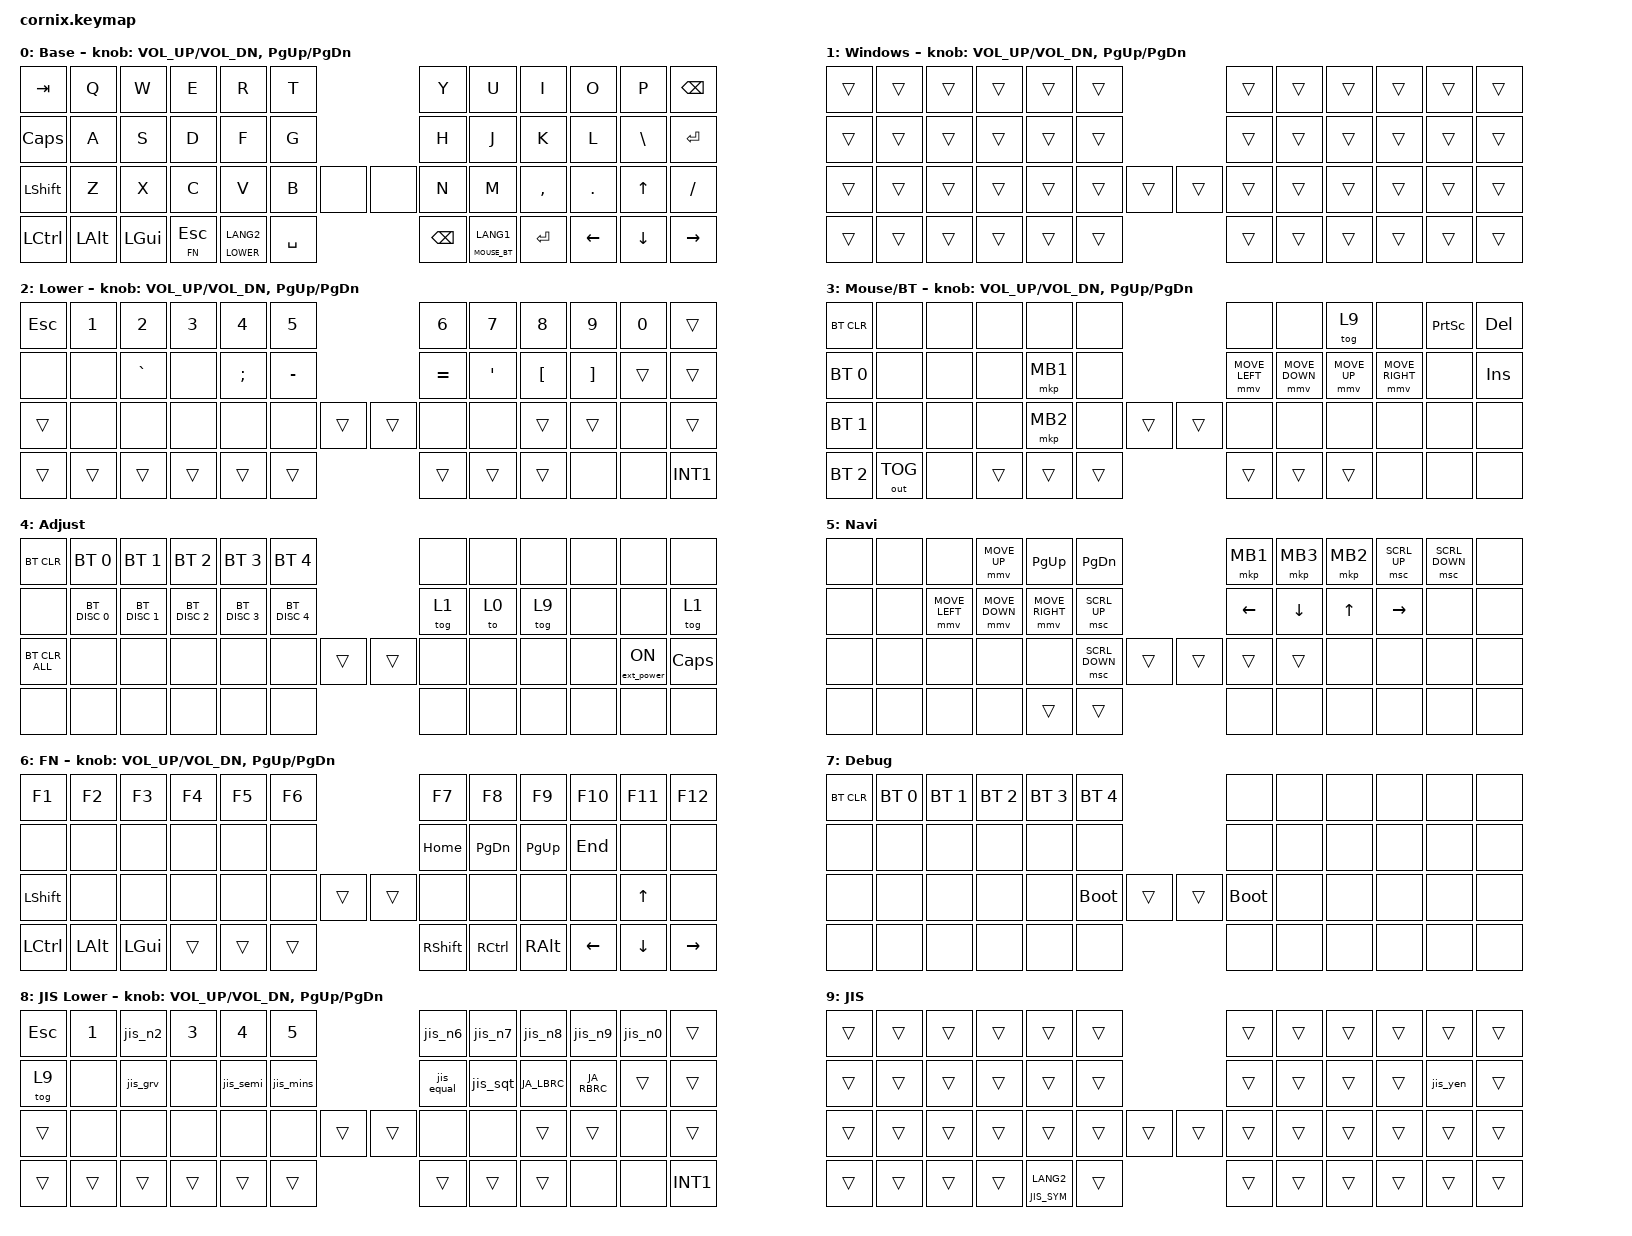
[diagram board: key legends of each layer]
/*
 * Copyright (c) 2020 The ZMK Contributors
 *
 * SPDX-License-Identifier: MIT
 */

#include "zmk-helpers/helper.h"
#include "includes/cornix54.h"
#include "includes/jis_keys.h"
#include <behaviors.dtsi>
#include <dt-bindings/zmk/bt.h>
#include <dt-bindings/zmk/ext_power.h>
#include <dt-bindings/zmk/keys.h>
#include <dt-bindings/zmk/outputs.h>
#include <dt-bindings/zmk/pointing.h>

#define TAPPING_TERM 250
#define QUICK_TAP    200

#define BASE     0
#define WIN      1
#define LOWER    2
#define MOUSE_BT 3
#define ADJUST   4
#define NAVI     5
#define FN       6
#define DEBUG    7
#define JIS_SYM  8
#define JIS_MODE 9

#define ZMK_POINTING_DEFAULT_SCRL_VAL 15

/ {
    behaviors {
        lt: layer_tap {
            compatible = "zmk,behavior-hold-tap";
            #binding-cells = <2>;
            bindings = <&mo>, <&kp>;
            flavor = "hold-preferred";
            tapping-term-ms = <TAPPING_TERM>;
            quick-tap-ms = <QUICK_TAP>;
        };

        // ── JISモード用 mod-morph ──────────────────────────────────────────────
        // ZMKはUS HIDコードを送るが、OSがJIS配列設定のためズレが生じる。
        // 各 mod-morph は「US記号」をJIS OSで正しく出力するためのコードに変換する。
        // 例: Shift+2(US @)→ mod-morphがJA_AT(LBKT)を送る → JIS OSが@と解釈する

        // 数字行: Shift+数字でUS/JIS間でズレる6キー
        jis_n2: jis_n2 {
            compatible = "zmk,behavior-mod-morph";
            #binding-cells = <0>;
            bindings = <&kp N2>, <&kp JA_AT>;    // 2 / @(=LBKT)
            mods = <(MOD_LSFT|MOD_RSFT)>;
        };
        jis_n6: jis_n6 {
            compatible = "zmk,behavior-mod-morph";
            #binding-cells = <0>;
            bindings = <&kp N6>, <&kp JA_CIRC>;  // 6 / ^(=EQUAL)
            mods = <(MOD_LSFT|MOD_RSFT)>;
        };
        jis_n7: jis_n7 {
            compatible = "zmk,behavior-mod-morph";
            #binding-cells = <0>;
            bindings = <&kp N7>, <&kp JA_AMPR>;  // 7 / &(=LS(N6))
            mods = <(MOD_LSFT|MOD_RSFT)>;
        };
        jis_n8: jis_n8 {
            compatible = "zmk,behavior-mod-morph";
            #binding-cells = <0>;
            bindings = <&kp N8>, <&kp JA_ASTR>;  // 8 / *(=LS(SQT))
            mods = <(MOD_LSFT|MOD_RSFT)>;
        };
        jis_n9: jis_n9 {
            compatible = "zmk,behavior-mod-morph";
            #binding-cells = <0>;
            bindings = <&kp N9>, <&kp JA_LPRN>;  // 9 / ((=LS(N8))
            mods = <(MOD_LSFT|MOD_RSFT)>;
        };
        jis_n0: jis_n0 {
            compatible = "zmk,behavior-mod-morph";
            #binding-cells = <0>;
            bindings = <&kp N0>, <&kp JA_RPRN>;  // 0 / )(=LS(N9))
            mods = <(MOD_LSFT|MOD_RSFT)>;
        };

        // 記号行: 単体キーもShiftバリアントもJIS変換が必要なキー
        // GRAVE: US` → JA_GRV(LS(LBKT)), US~ → JA_TILD(LS(EQUAL))
        jis_grv: jis_grv {
            compatible = "zmk,behavior-mod-morph";
            #binding-cells = <0>;
            bindings = <&kp JA_GRV>, <&kp JA_TILD>;
            mods = <(MOD_LSFT|MOD_RSFT)>;
        };
        // SEMI: US; はそのまま, US: → JA_COLN(SQT)
        jis_semi: jis_semi {
            compatible = "zmk,behavior-mod-morph";
            #binding-cells = <0>;
            bindings = <&kp SEMI>, <&kp JA_COLN>;
            mods = <(MOD_LSFT|MOD_RSFT)>;
        };
        // MINUS: US- はそのまま, US_ → JA_UNDS(LS(INT1))
        jis_mins: jis_mins {
            compatible = "zmk,behavior-mod-morph";
            #binding-cells = <0>;
            bindings = <&kp MINUS>, <&kp JA_UNDS>;
            mods = <(MOD_LSFT|MOD_RSFT)>;
        };
        // EQUAL: US= → JA_EQL(LS(MINUS)), US+ → JA_PLUS(LS(SEMI))
        jis_equal: jis_equal {
            compatible = "zmk,behavior-mod-morph";
            #binding-cells = <0>;
            bindings = <&kp JA_EQL>, <&kp JA_PLUS>;
            mods = <(MOD_LSFT|MOD_RSFT)>;
        };
        // SQT: US' → JA_QUOT(LS(N7)), US" → JA_DQT(LS(N2))
        jis_sqt: jis_sqt {
            compatible = "zmk,behavior-mod-morph";
            #binding-cells = <0>;
            bindings = <&kp JA_QUOT>, <&kp JA_DQT>;
            mods = <(MOD_LSFT|MOD_RSFT)>;
        };
        // LBKT/RBKT はmod-morph不要: JA_LBRC(RBKT)にShiftを加えると
        // 自動的にLS(RBKT)=JA_LCBR({)になり、JA_RBRC(BSLH)→LS(BSLH)=JA_RCBR(})も同様

        // Base層のBSLH(US\|): JIS OSでBSLH=]、LS(BSLH)=} になるためJIS変換が必要
        // US\→JA_YEN(INT3=¥), US|→JA_PIPE(LS(INT3)=|)
        jis_yen: jis_yen {
            compatible = "zmk,behavior-mod-morph";
            #binding-cells = <0>;
            bindings = <&kp JA_YEN>, <&kp JA_PIPE>;
            mods = <(MOD_LSFT|MOD_RSFT)>;
        };
    };

    conditional_layers {
        compatible = "zmk,conditional-layers";

        // LOWER + MOUSE_BT → ADJUST
        adjust_layer {
            if-layers = <MOUSE_BT LOWER>;
            then-layer = <ADJUST>;
        };

    };

    combos {
        compatible = "zmk,combos";

        // LH2 + LH1 同時押しで JIS モード on/off（同一ハーフ = cross-half 遅延なし）
        jis_toggle {
            bindings = <&tog JIS_MODE>;
            key-positions = <LH2 LH1>;
            timeout-ms = <50>;
        };

        cb_esc {
            bindings = <&kp ESC>;
            key-positions = <2 4>;
            layers = <BASE WIN>;
        };

        cb_tab {
            bindings = <&kp TAB>;
            key-positions = <14 16>;
            layers = <BASE WIN>;
        };

        cb_enter {
            bindings = <&kp RET>;
            key-positions = <19 21>;
            layers = <BASE WIN>;
        };
    };

    keymap {
        compatible = "zmk,keymap";

        // ── Layer 0: Base ──────────────────────────────────────────────────────
        // QMK Cornix v1.12 Layer 0 をベースに再現。
        // サムキー: lt FN(ESC) / lt LOWER(英数) / SPC | BSPC / lt MOUSE_BT(かな) / ENT
        // 右パームキー: ← ↓ →
        default_layer {
            display-name = "Base";
            bindings = <
&kp TAB    &kp Q     &kp W     &kp E              &kp R               &kp T                       &kp Y     &kp U                &kp I      &kp O     &kp P      &kp BSPC
&kp CAPS   &kp A     &kp S     &kp D              &kp F               &kp G                       &kp H     &kp J                &kp K      &kp L     &kp BSLH   &kp ENTER
&kp LSHFT  &kp Z     &kp X     &kp C              &kp V               &kp B        &none  &none  &kp N     &kp M                &kp COMMA  &kp DOT   &kp UP     &kp SLASH
&kp LCTRL  &kp LALT  &kp LGUI  &lt FN ESCAPE      &lt LOWER LANG2     &kp SPACE               &kp BSPC  &lt MOUSE_BT LANG1    &kp ENTER  &kp LEFT  &kp DOWN   &kp RIGHT
            >;
            sensor-bindings = <&inc_dec_kp C_VOL_UP C_VOL_DN &inc_dec_kp PG_UP PG_DN>;
        };

        // ── Layer 1: Windows ─────────────────────────────────────────────────
        // 将来の Windows 向けキーリマップ用。現在は全透過。
        win_layer {
            display-name = "Windows";
            bindings = <
&trans  &trans  &trans  &trans  &trans  &trans                  &trans  &trans  &trans  &trans  &trans  &trans
&trans  &trans  &trans  &trans  &trans  &trans                  &trans  &trans  &trans  &trans  &trans  &trans
&trans  &trans  &trans  &trans  &trans  &trans  &trans  &trans  &trans  &trans  &trans  &trans  &trans  &trans
&trans  &trans  &trans  &trans  &trans  &trans                  &trans  &trans  &trans  &trans  &trans  &trans
            >;
            sensor-bindings = <&inc_dec_kp C_VOL_UP C_VOL_DN &inc_dec_kp PG_UP PG_DN>;
        };

        // ── Layer 2: Lower ────────────────────────────────────────────────────
        // QMK Layer 1 を再現。数字 + JIS 記号。
        // 右中段の = ' [ ] は JIS モード時に ^ : @ [ になる。
        // 右パーム RP2: INT1 (JIS RO キー = \ / _)
        lower_layer {
            display-name = "Lower";
            bindings = <
&kp ESC  &kp N1  &kp N2     &kp N3  &kp N4    &kp N5                      &kp N6     &kp N7   &kp N8    &kp N9    &kp N0   &trans
&none    &none   &kp GRAVE  &none   &kp SEMI  &kp MINUS                   &kp EQUAL  &kp SQT  &kp LBKT  &kp RBKT  &trans   &trans
&trans   &none   &none      &none   &none     &none       &trans  &trans  &none      &none    &trans    &trans    &none    &trans
&trans   &trans  &trans     &trans  &trans    &trans                       &trans     &trans   &trans    &none     &none    &kp INT1
            >;
            sensor-bindings = <&inc_dec_kp C_VOL_UP C_VOL_DN &inc_dec_kp PG_UP PG_DN>;
        };

        // ── Layer 3: Mouse / BT ───────────────────────────────────────────────
        // QMK Layer 2 を再現。Bluetooth 操作 + マウス移動。
        // 左列: BT_CLR / BT0 / BT1 / BT2, SwitchOut
        // 右中段: HJKL 位置にマウス移動 (← ↓ ↑ →)
        // 右上 I 位置: &tog JIS_MODE (RH1 長押し + I で JIS on/off)
        mouse_bt_layer {
            display-name = "Mouse/BT";
            bindings = <
&bt BT_CLR    &none  &none  &none      &none      &none                       &none           &none           &tog 9         &none            &kp PSCRN  &kp DEL
&bt BT_SEL 0  &none  &none  &none      &mkp MB1   &none                       &mmv MOVE_LEFT  &mmv MOVE_DOWN  &mmv MOVE_UP   &mmv MOVE_RIGHT  &none      &kp INS
&bt BT_SEL 1  &none  &none  &none      &mkp MB2   &none       &trans  &trans  &none           &none           &none          &none            &none      &none
&bt BT_SEL 2  &out OUT_TOG  &none  &trans  &trans  &trans                     &trans          &trans          &trans         &none            &none      &none
            >;
            sensor-bindings = <&inc_dec_kp C_VOL_UP C_VOL_DN &inc_dec_kp PG_UP PG_DN>;
        };

        // ── Layer 4: Adjust (conditional: LOWER + MOUSE_BT) ──────────────────
        adjust_layer {
            display-name = "Adjust";
            bindings = <
&bt BT_CLR      &bt BT_SEL 0   &bt BT_SEL 1   &bt BT_SEL 2   &bt BT_SEL 3   &bt BT_SEL 4                   &none   &none  &none   &none  &none             &none
&none           &bt BT_DISC 0  &bt BT_DISC 1  &bt BT_DISC 2  &bt BT_DISC 3  &bt BT_DISC 4                  &tog 1  &to 0  &tog 9  &none  &none             &tog 1
&bt BT_CLR_ALL  &none          &none          &none          &none          &none          &trans  &trans   &none   &none  &none   &none  &ext_power EP_ON  &kp CAPS
&none           &none          &none          &none          &none          &none                            &none   &none  &none   &none  &none             &none
            >;
        };

        // ── Layer 5: Navi ─────────────────────────────────────────────────────
        // マウス移動 + スクロール + カーソル。BASE からは直接アクセスしない。
        navi_layer {
            display-name = "Navi";
            bindings = <
&none  &none  &none           &mmv MOVE_UP    &kp PAGE_UP      &kp PAGE_DOWN                   &mkp MB1  &mkp MB3  &mkp MB2  &msc SCRL_UP  &msc SCRL_DOWN  &none
&none  &none  &mmv MOVE_LEFT  &mmv MOVE_DOWN  &mmv MOVE_RIGHT  &msc SCRL_UP                    &kp LEFT  &kp DOWN  &kp UP    &kp RIGHT     &none           &none
&none  &none  &none           &none           &none            &msc SCRL_DOWN  &trans  &trans  &trans    &trans    &none     &none         &none           &none
&none  &none  &none           &none           &trans           &trans                          &none     &none     &none     &none         &none           &none
            >;
        };

        // ── Layer 6: FN ───────────────────────────────────────────────────────
        // QMK Layer 3 を再現。ファンクションキー + ナビゲーション。
        // 右中段: Home PgDn PgUp End
        // 右パーム: ← ↓ →, 右サム: RShift RCtrl RAlt
        fn_layer {
            display-name = "FN";
            bindings = <
&kp F1     &kp F2    &kp F3    &kp F4  &kp F5  &kp F6                      &kp F7     &kp F8     &kp F9     &kp F10   &kp F11   &kp F12
&none      &none     &none     &none   &none   &none                       &kp HOME   &kp PG_DN  &kp PG_UP  &kp END   &none     &none
&kp LSHFT  &none     &none     &none   &none   &none      &trans  &trans   &none      &none      &none      &none     &kp UP    &none
&kp LCTRL  &kp LALT  &kp LGUI  &trans  &trans  &trans                      &kp RSHFT  &kp RCTRL  &kp RALT   &kp LEFT  &kp DOWN  &kp RIGHT
            >;
            sensor-bindings = <&inc_dec_kp C_VOL_UP C_VOL_DN &inc_dec_kp PG_UP PG_DN>;
        };

        // ── Layer 7: Debug ───────────────────────────────────────────────────
        debug_layer {
            display-name = "Debug";
            bindings = <
&bt BT_CLR  &bt BT_SEL 0  &bt BT_SEL 1  &bt BT_SEL 2  &bt BT_SEL 3  &bt BT_SEL 4                  &none        &none  &none  &none  &none  &none
&none       &none         &none         &none         &none         &none                         &none        &none  &none  &none  &none  &none
&none       &none         &none         &none         &none         &bootloader   &trans  &trans  &bootloader  &none  &none  &none  &none  &none
&none       &none         &none         &none         &none         &none                         &none        &none  &none  &none  &none  &none
            >;
        };

        // ── Layer 8: JIS Lower ───────────────────────────────────────────────
        // LOWER の JIS 版。ZMKのUSキーコードをJIS配列OS向けに変換して送出。
        // LOWERと全く同じキー位置で、US記号が正しく出力されるよう変換済み。
        jis_sym_layer {
            display-name = "JIS Lower";
            bindings = <
&kp ESC  &kp N1   &jis_n2   &kp N3  &kp N4     &kp N5                      &jis_n6      &jis_n7      &jis_n8      &jis_n9      &jis_n0      &trans
&tog 9   &none    &jis_grv  &none   &jis_semi  &jis_mins                   &jis_equal   &jis_sqt     &kp JA_LBRC  &kp JA_RBRC  &trans       &trans
&trans   &none    &none     &none   &none      &none       &trans  &trans  &none        &none        &trans       &trans       &none        &trans
&trans   &trans   &trans    &trans  &trans     &trans                       &trans       &trans       &trans       &none        &none        &kp INT1
            >;
            sensor-bindings = <&inc_dec_kp C_VOL_UP C_VOL_DN &inc_dec_kp PG_UP PG_DN>;
        };

        // ── Layer 9: JIS Mode ────────────────────────────────────────────────
        // JIS モードトグル。Adjust の &tog 9 または JIS Lower の CAPS 位置で on/off。
        // アクティブ時、LH1 の lt LOWER を lt JIS_SYM に差し替える。
        // アルファキーは全透過なのでタイピングへの影響なし。
        jis_mode_layer {
            display-name = "JIS";
            bindings = <
&trans  &trans  &trans  &trans  &trans               &trans                  &trans  &trans  &trans  &trans  &trans  &trans
&trans  &trans  &trans  &trans  &trans               &trans                  &trans  &trans  &trans  &trans  &jis_yen  &trans
&trans  &trans  &trans  &trans  &trans               &trans  &trans  &trans  &trans  &trans  &trans  &trans  &trans  &trans
&trans  &trans  &trans  &trans  &lt JIS_SYM LANG2    &trans                  &trans  &trans  &trans  &trans  &trans  &trans
            >;
        };
    };
};
